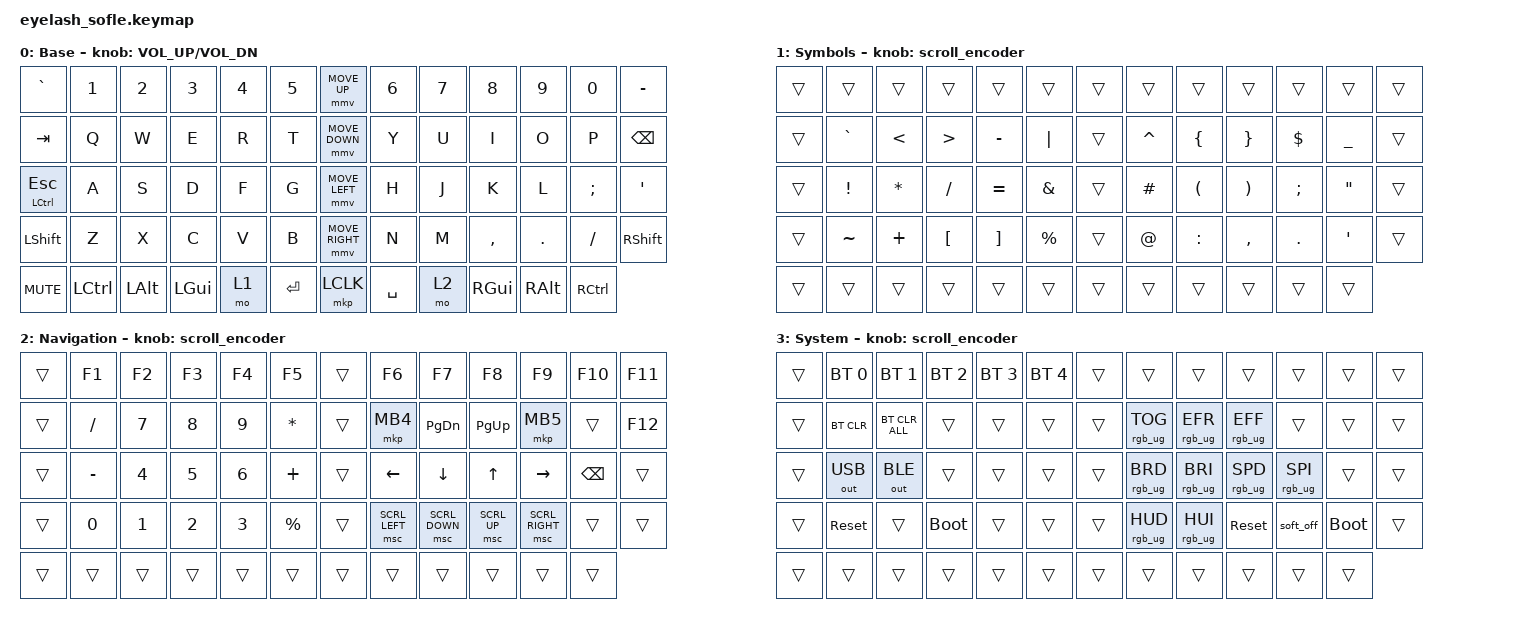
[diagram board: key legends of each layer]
#define ZMK_POINTING_DEFAULT_MOVE_VAL 1200  // 600
#define ZMK_POINTING_DEFAULT_SCRL_VAL 25   // 10

#include <input/processors.dtsi>
#include <zephyr/dt-bindings/input/input-event-codes.h>
#include <behaviors.dtsi>
#include <dt-bindings/zmk/bt.h>
#include <dt-bindings/zmk/keys.h>
#include <dt-bindings/zmk/outputs.h>
#include <dt-bindings/zmk/pointing.h>
#include <dt-bindings/zmk/rgb.h>

&mmv_input_listener { input-processors = <&zip_xy_scaler 2 1>; };

&msc_input_listener { input-processors = <&zip_scroll_scaler 2 1>; };

&msc {
    acceleration-exponent = <1>;      // 0
    time-to-max-speed-ms = <100>;       // 300
    delay-ms = <0>;                   // 0
};

&mmv {
    time-to-max-speed-ms = <500>;
    acceleration-exponent = <1>;
    trigger-period-ms = <16>;
};

&soft_off { hold-time-ms = <2000>; };

/ {
    scroll_encoder: scroll_encoder {
        compatible = "zmk,behavior-sensor-rotate";
        #sensor-binding-cells = <0>;
        bindings = <&msc SCRL_DOWN>, <&msc SCRL_UP>;

        tap-ms = <100>;
    };

    behaviors {
        // Homerow mods for modifiers (SHIFT, CTRL, ALT, GUI)

        hml_mod: homerow_left_mod {
            compatible = "zmk,behavior-hold-tap";
            #binding-cells = <2>;
            flavor = "balanced";
            tapping-term-ms = <280>;
            quick-tap-ms = <175>;
            require-prior-idle-ms = <50>;
            bindings = <&kp>, <&kp>;

            hold-trigger-key-positions = <6 7 8 9 10 11 12 19 20 21 22 23 24 25 32 33 34 35 36 37 38 45 46 47 48 49 50 51 58 59 60 61 53 54 55 56 57 62 63>;
            hold-trigger-on-release;
        };

        hmr_mod: homerow_right_mod {
            compatible = "zmk,behavior-hold-tap";
            #binding-cells = <2>;
            flavor = "balanced";
            tapping-term-ms = <280>;
            quick-tap-ms = <175>;
            require-prior-idle-ms = <50>;
            bindings = <&kp>, <&kp>;

            hold-trigger-key-positions = <0 1 2 3 4 5 6 13 14 15 16 17 18 19 26 27 28 29 30 31 32 39 40 41 42 43 44 45 52 53 54 55 56 57 59 60 61 62 63>;
            hold-trigger-on-release;
        };

        // Homerow mods for layer switching

        hml_layer: homerow_left_layer {
            compatible = "zmk,behavior-hold-tap";
            #binding-cells = <2>;
            flavor = "balanced";
            tapping-term-ms = <280>;
            quick-tap-ms = <175>;
            require-prior-idle-ms = <50>;
            bindings = <&mo>, <&kp>;

            hold-trigger-key-positions = <6 7 8 9 10 11 12 19 20 21 22 23 24 25 32 33 34 35 36 37 38 45 46 47 48 49 50 51 57 58 59 60 61 56 62 63 53 54 55>;
            hold-trigger-on-release;
        };

        hmr_layer: homerow_right_layer {
            compatible = "zmk,behavior-hold-tap";
            #binding-cells = <2>;
            flavor = "balanced";
            tapping-term-ms = <280>;
            quick-tap-ms = <175>;
            require-prior-idle-ms = <50>;
            bindings = <&mo>, <&kp>;

            hold-trigger-key-positions = <0 1 2 3 4 5 6 13 14 15 16 17 18 19 26 27 28 29 30 31 32 39 40 41 42 43 44 45 52 53 54 55 56 57 59 61 63 62 60>;
            hold-trigger-on-release;
        };

        // Modifier when held, Caps Word when tapped
    };

    combos {
        compatible = "zmk,combos";

        softoff {
            bindings = <&soft_off>;
            key-positions = <14 28 40>;
        };
    };

    conditional_layers {
        compatible = "zmk,conditional-layers";

        tri_layer {
            if-layers = <1 2>;
            then-layer = <3>;
        };
    };

    keymap {
        compatible = "zmk,keymap";

        base {
            bindings = <
&kp GRAVE      &kp N1     &kp N2    &kp N3    &kp N4  &kp N5       &mmv MOVE_UP     &kp N6     &kp N7  &kp N8     &kp N9    &kp N0         &kp MINUS
&kp TAB        &kp Q      &kp W     &kp E     &kp R   &kp T        &mmv MOVE_DOWN   &kp Y      &kp U   &kp I      &kp O     &kp P          &kp BACKSPACE
&mt LCTRL ESC  &kp A      &kp S     &kp D     &kp F   &kp G        &mmv MOVE_LEFT   &kp H      &kp J   &kp K      &kp L     &kp SEMICOLON  &kp APOS
&kp LSHIFT     &kp Z      &kp X     &kp C     &kp V   &kp B        &mmv MOVE_RIGHT  &kp N      &kp M   &kp COMMA  &kp DOT   &kp FSLH       &kp RSHIFT
&kp C_MUTE     &kp LCTRL  &kp LALT  &kp LGUI  &mo 1   &kp ENTER    &mkp LCLK        &kp SPACE  &mo 2   &kp RGUI   &kp RALT  &kp RCTRL
            >;

            sensor-bindings = <&inc_dec_kp C_VOLUME_UP C_VOL_DN>;
            display-name = "Base";
        };

        symbols {
            bindings = <
&trans  &trans     &trans    &trans    &trans     &trans       &trans  &trans     &trans     &trans     &trans    &trans     &trans
&trans  &kp GRAVE  &kp LT    &kp GT    &kp MINUS  &kp PIPE     &trans  &kp CARET  &kp LBRC   &kp RBRC   &kp DLLR  &kp UNDER  &trans
&trans  &kp EXCL   &kp STAR  &kp FSLH  &kp EQUAL  &kp AMPS     &trans  &kp HASH   &kp LPAR   &kp RPAR   &kp SEMI  &kp DQT    &trans
&trans  &kp TILDE  &kp PLUS  &kp LBKT  &kp RBKT   &kp PRCNT    &trans  &kp AT     &kp COLON  &kp COMMA  &kp DOT   &kp SQT    &trans
&trans  &trans     &trans    &trans    &trans     &trans       &trans  &trans     &trans     &trans     &trans    &trans
            >;

            display-name = "Symbols";
            sensor-bindings = <&scroll_encoder>;
        };

        navigation {
            bindings = <
&trans  &kp F1     &kp F2  &kp F3  &kp F4  &kp F5         &trans  &kp F6          &kp F7          &kp F8        &kp F9           &kp F10        &kp F11
&trans  &kp SLASH  &kp N7  &kp N8  &kp N9  &kp STAR       &trans  &mkp MB4        &kp PAGE_DOWN   &kp PAGE_UP   &mkp MB5         &trans         &kp F12
&trans  &kp MINUS  &kp N4  &kp N5  &kp N6  &kp PLUS       &trans  &kp LEFT        &kp DOWN        &kp UP        &kp RIGHT        &kp BACKSPACE  &trans
&trans  &kp N0     &kp N1  &kp N2  &kp N3  &kp PERCENT    &trans  &msc SCRL_LEFT  &msc SCRL_DOWN  &msc SCRL_UP  &msc SCRL_RIGHT  &trans         &trans
&trans  &trans     &trans  &trans  &trans  &trans         &trans  &trans          &trans          &trans        &trans           &trans
            >;

            display-name = "Navigation";
            sensor-bindings = <&scroll_encoder>;
        };

        system {
            bindings = <
&trans  &bt BT_SEL 0  &bt BT_SEL 1    &bt BT_SEL 2  &bt BT_SEL 3  &bt BT_SEL 4    &trans  &trans           &trans           &trans           &trans           &trans       &trans
&trans  &bt BT_CLR    &bt BT_CLR_ALL  &trans        &trans        &trans          &trans  &rgb_ug RGB_TOG  &rgb_ug RGB_EFR  &rgb_ug RGB_EFF  &trans           &trans       &trans
&trans  &out OUT_USB  &out OUT_BLE    &trans        &trans        &trans          &trans  &rgb_ug RGB_BRD  &rgb_ug RGB_BRI  &rgb_ug RGB_SPD  &rgb_ug RGB_SPI  &trans       &trans
&trans  &sys_reset    &trans          &bootloader   &trans        &trans          &trans  &rgb_ug RGB_HUD  &rgb_ug RGB_HUI  &sys_reset       &soft_off        &bootloader  &trans
&trans  &trans        &trans          &trans        &trans        &trans          &trans  &trans           &trans           &trans           &trans           &trans
            >;

            display-name = "System";
            sensor-bindings = <&scroll_encoder>;
        };
    };
};
